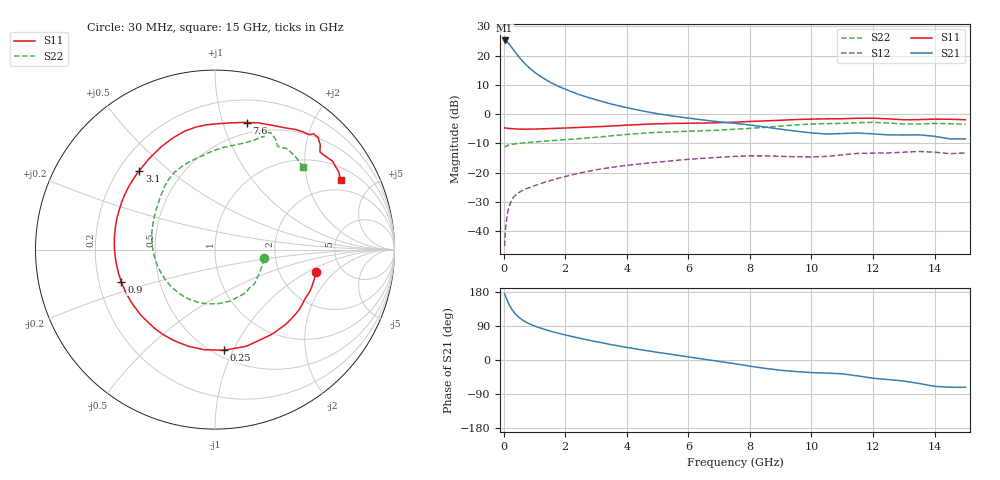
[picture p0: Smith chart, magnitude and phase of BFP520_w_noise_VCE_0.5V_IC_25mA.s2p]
! Infineon Technologies  Discrete & RF Semiconductors
! BFP520
! VCE =  0.5 V,  IC =  25 mA
! Common Emitter S-Parameters:  Oct 2015
# GHz  S  MA  R  50
!  f  S11  S21  S12  S22
! GHz  MAG  ANG  MAG  ANG  MAG  ANG  MAG  ANG
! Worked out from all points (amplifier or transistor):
!   109 points, 30 MHz to 15 GHz, reference 50 ohm
!   highest |S21| = 25.2 dB at 30 MHz (marker M1)
!   |S21| within 3 dB of that: start of sweep to 303.4 MHz
!   unconditionally stable (mu >= 1): start of sweep to 113.5 MHz; 716.3 MHz to end of sweep
!   at 450 MHz: K = 0.80, MSG = 23.6 dB, |S12| = -27.1 dB
!   at 4 GHz: K = 1.73, MAG = 4.9 dB, |S12| = -17.6 dB
!   at 15 GHz: K = 1.73, MAG = -2.5 dB, |S12| = -13.3 dB
!   lowest NFmin = 2.24 dB at 900 MHz
!   S11 on the Smith chart (normalised r, x): 30 MHz: 3.25, -1.22; 250 MHz: 0.56, -0.92; 900 MHz: 0.30, -0.16; 3.1 GHz: 0.28, +0.40; 7.6 GHz: 0.40, +1.20; 15 GHz: 1.51, +3.23
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0.03  0.5788 -12.5  18.13 174.7  0.0055 100.2  0.2747 -10.2
0.09  0.5763 -35.9  17.48 162.4  0.015 80.8  0.2867 -36.7
0.14  0.5689 -53.8  16.53 152.9  0.0218 71.9  0.2949 -55.0
0.2  0.5661 -71.8  15.2 143.0  0.0286 63.8  0.2992 -74.3
0.25  0.5631 -84.8  14.04 135.9  0.033 58.7  0.3024 -87.4
0.3  0.561 -96.1  12.9 129.7  0.0366 54.5  0.3056 -98.8
0.35  0.5587 -105.5  11.91 124.4  0.0394 51.5  0.308 -108.0
0.45  0.5548 -121.2  10.12 115.8  0.044 46.9  0.3134 -123.1
0.5  0.5529 -127.5  9.422 112.3  0.0458 45.4  0.3153 -129.2
0.6  0.5517 -138.3  8.165 106.2  0.049 43.2  0.3196 -139.5
0.7  0.5511 -147.1  7.166 101.2  0.0518 41.7  0.3231 -148.0
0.9  0.5524 -160.7  5.745 93.2  0.0569 40.2  0.3292 -160.2
1.1  0.5552 -171.1  4.767 86.8  0.062 39.5  0.3366 -169.5
1.5  0.5646 173.1  3.525 76.5  0.0723 38.4  0.3503 176.8
2  0.5762 158.4  2.66 66.1  0.0855 36.5  0.365 164.2
2.6  0.595 144.0  2.027 55.0  0.1012 32.8  0.3852 151.4
3.1  0.6089 133.8  1.696 46.9  0.1134 28.8  0.4048 142.1
5.1  0.6827 103.3  0.993 19.0  0.152 12.3  0.4879 116.6
7.6  0.7298 76.0  0.685 -10.9  0.1894 -10.7  0.5524 90.4
10.5  0.8264 51.0  0.455 -34.6  0.1885 -30.0  0.6858 66.6
13  0.7989 43.0  0.438 -55.6  0.2226 -49.9  0.6742 59.0
15  0.7989 28.9  0.377 -72.0  0.2158 -65.6  0.6706 43.1
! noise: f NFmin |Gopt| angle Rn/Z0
0.45  2.26  0.05  -41  0.28
0.9  2.24  0.05  -56  0.3
1.9  2.41  0.06  -76  0.3
2.4  2.41  0.09  -92  0.29
3.5  2.36  0.1  -92  0.31
